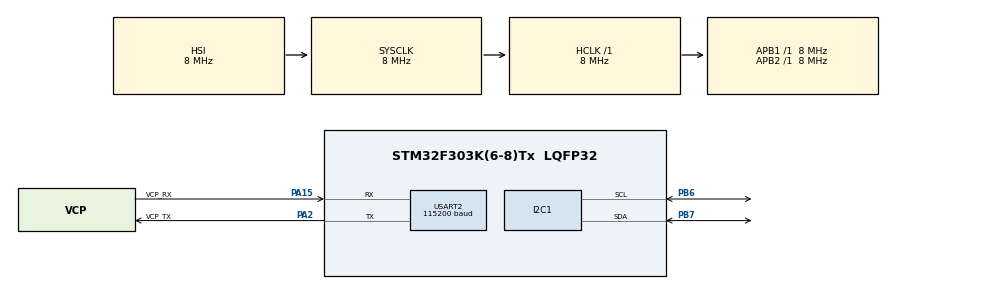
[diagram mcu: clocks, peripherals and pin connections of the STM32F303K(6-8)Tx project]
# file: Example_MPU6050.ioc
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Mcu.Family=STM32F3
Mcu.Name=STM32F303K(6-8)Tx
Mcu.Package=LQFP32
NVIC.PriorityGroup=NVIC_PRIORITYGROUP_4
PA13.GPIO_Label=SWDIO
PA13.Mode=Serial_Wire
PA13.Signal=SYS_JTMS-SWDIO
PA14.GPIO_Label=SWCLK
PA14.Mode=Serial_Wire
PA14.Signal=SYS_JTCK-SWCLK
PA15.GPIO_Label=VCP_RX
PA15.Mode=Asynchronous
PA15.Signal=USART2_RX
PA2.GPIO_Label=VCP_TX
PA2.Mode=Asynchronous
PA2.Signal=USART2_TX
PB6.Mode=I2C
PB6.Signal=I2C1_SCL
PB7.Mode=I2C
PB7.Signal=I2C1_SDA
PF0\ /\ OSC_IN.GPIO_Label=MCO
PF0\ /\ OSC_IN.Mode=HSE-External-Clock-Source
PF0\ /\ OSC_IN.Signal=RCC_OSC_IN
ProjectManager.HeapSize=0x200
ProjectManager.StackSize=0x400
ProjectManager.TargetToolchain=STM32CubeIDE
RCC.AHBFreq_Value=8000000
RCC.APB1Freq_Value=8000000
RCC.APB2Freq_Value=8000000
RCC.CortexFreq_Value=8000000
RCC.HSE_VALUE=8000000
RCC.HSI_VALUE=8000000
RCC.SYSCLKFreq_VALUE=8000000
USART2.BaudRate=115200
USART2.VirtualMode-Asynchronous=VM_ASYNC
board=NUCLEO-F303K8

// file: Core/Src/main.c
/* USER CODE BEGIN Header */
/**
  ******************************************************************************
  * @file           : main.c
  * @brief          : Main program body
  ******************************************************************************
  * @attention
  *
  * <h2><center>&copy; Copyright (c) 2020 STMicroelectronics.
  * All rights reserved.</center></h2>
  *
  * This software component is licensed by ST under BSD 3-Clause license,
  * the "License"; You may not use this file except in compliance with the
  * License. You may obtain a copy of the License at:
  *                        opensource.org/licenses/BSD-3-Clause
  *
  ******************************************************************************
  */
/* USER CODE END Header */

#include "main.h"

/* USER CODE BEGIN Includes */
#include <stdio.h>
#include "sd_hal_mpu6050.h"
/* USER CODE END Includes */

I2C_HandleTypeDef hi2c1;

UART_HandleTypeDef huart2;

/* USER CODE BEGIN PV */
SD_MPU6050 mpu1;

/* USER CODE END PV */

void SystemClock_Config(void);
static void MX_GPIO_Init(void);
static void MX_USART2_UART_Init(void);
static void MX_I2C1_Init(void);

int main(void)
{
  /* USER CODE BEGIN 1 */
  setbuf(stdout, NULL);

  SD_MPU6050_Result result ;
  float temp;
  int16_t g_x, g_y, g_z;
  int16_t a_x, a_y, a_z;

  /* USER CODE END 1 */

  /* MCU Configuration--------------------------------------------------------*/

  /* Reset of all peripherals, Initializes the Flash interface and the Systick. */
  HAL_Init();

  /* Configure the system clock */
  SystemClock_Config();

  /* Initialize all configured peripherals */
  MX_GPIO_Init();
  MX_USART2_UART_Init();
  MX_I2C1_Init();
  /* USER CODE BEGIN 2 */
  result = SD_MPU6050_Init(&hi2c1, &mpu1, SD_MPU6050_Device_0, SD_MPU6050_Accelerometer_2G, SD_MPU6050_Gyroscope_250s);
  HAL_Delay(500);

  if(result == SD_MPU6050_Result_Ok)
  {
	  printf("MPU6050 initialize success\n");
  }
  else
  {
	  printf("MPU6050 initialize error\n");
  }
  HAL_Delay(500);

  /* USER CODE END 2 */

  /* Infinite loop */
  while (1)
  {

    /* USER CODE BEGIN 3 */
	  SD_MPU6050_ReadTemperature(&hi2c1,&mpu1);
	  temp = mpu1.Temperature;
	  printf("temp: %d\n", (int)temp);

	  SD_MPU6050_ReadGyroscope(&hi2c1,&mpu1);
	  g_x = mpu1.Gyroscope_X;
	  g_y = mpu1.Gyroscope_Y;
	  g_z = mpu1.Gyroscope_Z;
	  printf("g_x: %d, g_y: %d, g_z: %d\n", g_x, g_y, g_z);

	  SD_MPU6050_ReadAccelerometer(&hi2c1,&mpu1);
	  a_x = mpu1.Accelerometer_X;
	  a_y = mpu1.Accelerometer_Y;
	  a_z = mpu1.Accelerometer_Z;
	  printf("a_x: %d, a_y: %d, a_z: %d\n", a_x, a_y, a_z);

	  HAL_Delay(500);

  }
  /* USER CODE END 3 */
}

void SystemClock_Config(void)
{
  RCC_OscInitTypeDef RCC_OscInitStruct = {0};
  RCC_ClkInitTypeDef RCC_ClkInitStruct = {0};
  RCC_PeriphCLKInitTypeDef PeriphClkInit = {0};

  /** Initializes the CPU, AHB and APB busses clocks
  */
  RCC_OscInitStruct.OscillatorType = RCC_OSCILLATORTYPE_HSI;
  RCC_OscInitStruct.HSIState = RCC_HSI_ON;
  RCC_OscInitStruct.HSICalibrationValue = RCC_HSICALIBRATION_DEFAULT;
  RCC_OscInitStruct.PLL.PLLState = RCC_PLL_NONE;
  if (HAL_RCC_OscConfig(&RCC_OscInitStruct) != HAL_OK)
  {
    Error_Handler();
  }
  /** Initializes the CPU, AHB and APB busses clocks
  */
  RCC_ClkInitStruct.ClockType = RCC_CLOCKTYPE_HCLK|RCC_CLOCKTYPE_SYSCLK
                              |RCC_CLOCKTYPE_PCLK1|RCC_CLOCKTYPE_PCLK2;
  RCC_ClkInitStruct.SYSCLKSource = RCC_SYSCLKSOURCE_HSI;
  RCC_ClkInitStruct.AHBCLKDivider = RCC_SYSCLK_DIV1;
  RCC_ClkInitStruct.APB1CLKDivider = RCC_HCLK_DIV1;
  RCC_ClkInitStruct.APB2CLKDivider = RCC_HCLK_DIV1;

  if (HAL_RCC_ClockConfig(&RCC_ClkInitStruct, FLASH_LATENCY_0) != HAL_OK)
  {
    Error_Handler();
  }
  PeriphClkInit.PeriphClockSelection = RCC_PERIPHCLK_I2C1;
  PeriphClkInit.I2c1ClockSelection = RCC_I2C1CLKSOURCE_HSI;
  if (HAL_RCCEx_PeriphCLKConfig(&PeriphClkInit) != HAL_OK)
  {
    Error_Handler();
  }
}

static void MX_I2C1_Init(void)
{

  hi2c1.Instance = I2C1;
  hi2c1.Init.Timing = 0x2000090E;
  hi2c1.Init.OwnAddress1 = 0;
  hi2c1.Init.AddressingMode = I2C_ADDRESSINGMODE_7BIT;
  hi2c1.Init.DualAddressMode = I2C_DUALADDRESS_DISABLE;
  hi2c1.Init.OwnAddress2 = 0;
  hi2c1.Init.OwnAddress2Masks = I2C_OA2_NOMASK;
  hi2c1.Init.GeneralCallMode = I2C_GENERALCALL_DISABLE;
  hi2c1.Init.NoStretchMode = I2C_NOSTRETCH_DISABLE;
  if (HAL_I2C_Init(&hi2c1) != HAL_OK)
  {
    Error_Handler();
  }
  /** Configure Analogue filter
  */
  if (HAL_I2CEx_ConfigAnalogFilter(&hi2c1, I2C_ANALOGFILTER_ENABLE) != HAL_OK)
  {
    Error_Handler();
  }
  /** Configure Digital filter
  */
  if (HAL_I2CEx_ConfigDigitalFilter(&hi2c1, 0) != HAL_OK)
  {
    Error_Handler();
  }

}

static void MX_USART2_UART_Init(void)
{

  huart2.Instance = USART2;
  huart2.Init.BaudRate = 115200;
  huart2.Init.WordLength = UART_WORDLENGTH_8B;
  huart2.Init.StopBits = UART_STOPBITS_1;
  huart2.Init.Parity = UART_PARITY_NONE;
  huart2.Init.Mode = UART_MODE_TX_RX;
  huart2.Init.HwFlowCtl = UART_HWCONTROL_NONE;
  huart2.Init.OverSampling = UART_OVERSAMPLING_16;
  huart2.Init.OneBitSampling = UART_ONE_BIT_SAMPLE_DISABLE;
  huart2.AdvancedInit.AdvFeatureInit = UART_ADVFEATURE_NO_INIT;
  if (HAL_UART_Init(&huart2) != HAL_OK)
  {
    Error_Handler();
  }

}

static void MX_GPIO_Init(void)
{

  /* GPIO Ports Clock Enable */
  __HAL_RCC_GPIOF_CLK_ENABLE();
  __HAL_RCC_GPIOA_CLK_ENABLE();
  __HAL_RCC_GPIOB_CLK_ENABLE();

}

/* USER CODE BEGIN 4 */
int _write(int file, char *ptr, int len)
{
  HAL_UART_Transmit(&huart2,(uint8_t *)ptr,len,10);
  return len;
}
/* USER CODE END 4 */

void Error_Handler(void)
{
}

/************************ (C) COPYRIGHT STMicroelectronics *****END OF FILE****/
